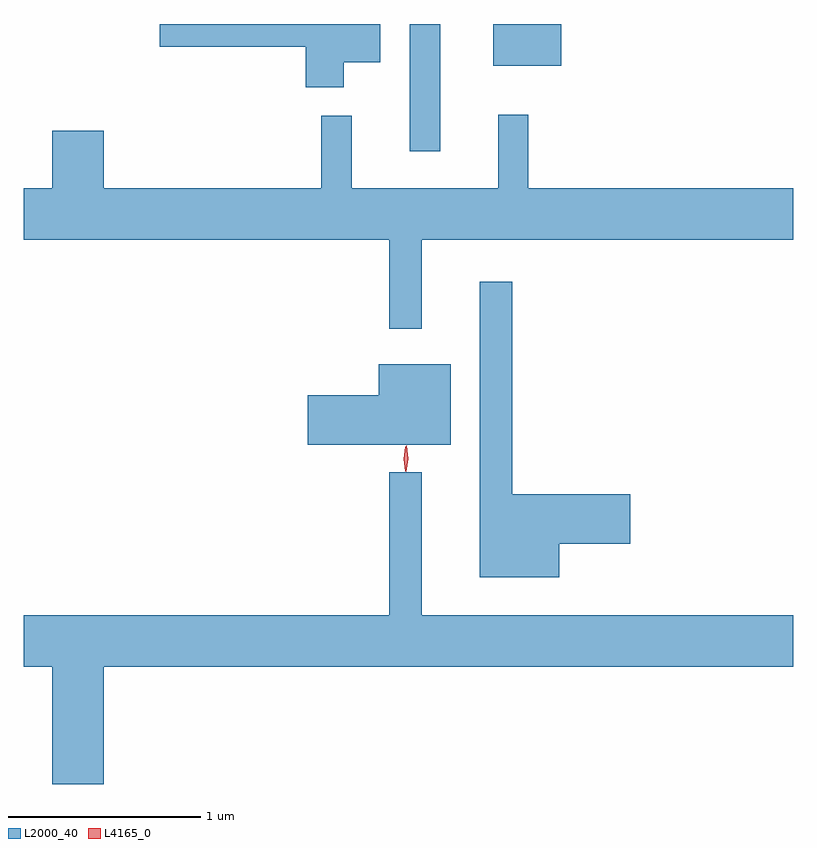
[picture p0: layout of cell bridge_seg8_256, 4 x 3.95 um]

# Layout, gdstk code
import gdstk
lib = gdstk.Library(unit=1e-6, precision=1e-09)
def R(c, l, rs):  # rectangles x0, y0, x1, y1
    for r in rs: c.add(gdstk.rectangle(r[:2], r[2:], *l))
def P(c, l, *ps):  # polygons
    for p in ps: c.add(gdstk.Polygon(p, *l))
L2000_40 = (2000, 40)
L4165_0 = (4165, 0)

bridge_seg8_256 = lib.new_cell('bridge_seg8_256')
R(bridge_seg8_256, L2000_40, [(1056.096,1814.678,1056.254,1815.339), (1056.531,1815.121,1056.884,1815.339)])
P(bridge_seg8_256, L2000_40, [(1055.754,1815.141),(1055.944,1815.141),(1055.944,1815.339),(1054.796,1815.339),(1054.796,1815.221),(1055.556,1815.221),(1055.556,1815.011),(1055.754,1815.011)],
  [(1056.159,1814.216),(1058.09,1814.216),(1058.09,1814.484),(1056.714,1814.484),(1056.714,1814.868),(1056.556,1814.868),(1056.556,1814.484),(1055.794,1814.484),(1055.794,1814.863),(1055.636,1814.863),(1055.636,1814.484),(1054.504,1814.484),(1054.504,1814.784),(1054.236,1814.784),(1054.236,1814.484),(1054.09,1814.484),(1054.09,1814.216),(1055.991,1814.216),(1055.991,1813.753),(1056.159,1813.753)],
  [(1056.874,1812.636),(1057.244,1812.636),(1057.244,1812.894),(1056.629,1812.894),(1056.629,1813.998),(1056.461,1813.998),(1056.461,1812.461),(1056.874,1812.461)],
  [(1056.309,1813.569),(1055.936,1813.569),(1055.936,1813.409),(1055.566,1813.409),(1055.566,1813.151),(1056.309,1813.151)],
  [(1054.504,1811.996),(1058.09,1811.996),(1058.09,1812.264),(1056.159,1812.264),(1056.159,1813.008),(1055.991,1813.008),(1055.991,1812.264),(1054.09,1812.264),(1054.09,1811.996),(1054.236,1811.996),(1054.236,1811.386),(1054.504,1811.386)])
P(bridge_seg8_256, L4165_0, [(1056.078,1813.01),(1056.078,1813.01),(1056.069,1813.078),(1056.079,1813.145),(1056.08,1813.146),(1056.08,1813.145),(1056.089,1813.078),(1056.079,1813.01)],
  [(1056.074,1813.013),(1056.065,1813.076),(1056.074,1813.139),(1056.075,1813.14),(1056.075,1813.139),(1056.085,1813.076),(1056.075,1813.013),(1056.075,1813.013)])

lib.write_gds('bridge_seg8_256.gds')
